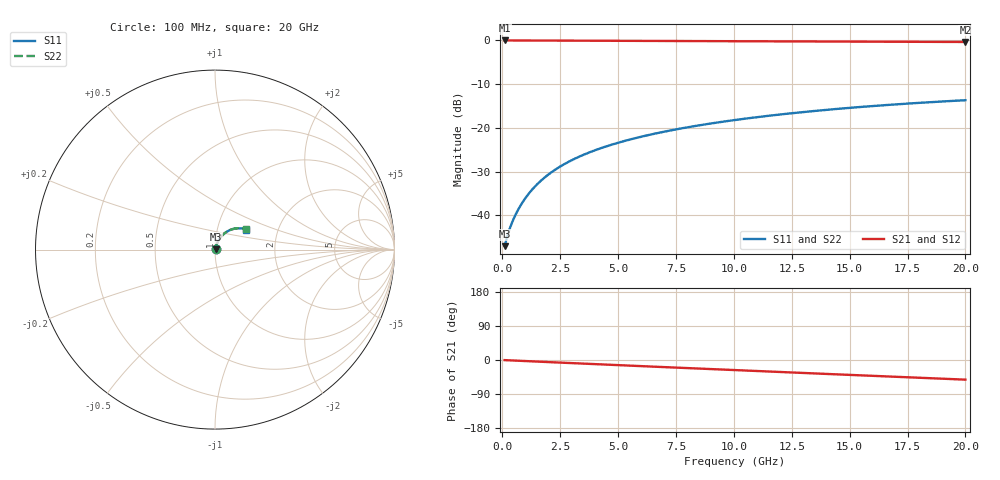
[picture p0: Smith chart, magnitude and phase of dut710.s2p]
! Touchstone file exported from HFSS 2026.1.0
!  File:  C:/ffzhzh/LocalFiles/Ansys_Project_Files/temp_train_TMRDL_710_1783154594_51560.aedt
!  Generated:  04:44:31 PM Jul  4, 2026
!  Design:  TMRDL
!  Project:  temp_train_TMRDL_710_1783154594_51560
! Variables:
!  h_bsmrdl = 2um
!  h_ox = 20um
!  h_rdl = 5um
!  h_sub = 80um
!  h_tmrdl = 5.76um
!  h_tsv = 80um
!  h_via = 3um
!  l_bsmrdl = 300um
!  l_sub = 1324.99um
!  l_tmrdl = 924.99um
!  m_sub = 200um
!  pitch = 23.7um
!  r_tsv = 6um
!  s_tmrdl = 10um
!  w_bsmrdl = 18um
!  w_sub = 500um
!  w_tmrdl = 14.58um
!  x_tsv_center1 = 932.28um
!  x_tsv_center2 = 1250.28um
!  x_tsv_center3 = 2189.85um
!  x_tsv_center4 = 2507.85um
!  x_tsv_center5 = 3447.42um
!  x_tsv_center6 = 3765.42um
# GHz S MA R 50.000000
! Terminal data exported
! Port[1] = TM_RDL1_1_T1
! Port[2] = TM_RDL1_1_T2
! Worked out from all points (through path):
!   200 points, 100 MHz to 20 GHz, reference 50 ohm
!   highest |S21| = -0.04 dB at 100 MHz (marker M1); lowest = -0.4 dB at 20 GHz (marker M2)
!   group delay of S21, straight-line fit = 7.17 ps
!   lowest |S11| = -47.0 dB at 100 MHz (marker M3), VSWR 1.01, Z = 50.4 + j0.186 ohm
!   |S11| at or under -10 dB: start of sweep to end of sweep
!   |S22| runs from -47.0 to -13.7 dB; largest |S21 - S12| = 7.6e-15
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0.1  0.004458 24.4  0.9959 -0.3  0.9959 -0.3  0.004458 24.4
! Gamma 0 0 0 0
! Port Impedance 50 0 50 0
0.2  0.005598 38.4  0.9956 -0.6  0.9956 -0.6  0.005598 38.4
0.3  0.006817 46.4  0.9954 -0.9  0.9954 -0.9  0.006817 46.4
0.4  0.008036 51.9  0.9952 -1.1  0.9952 -1.1  0.008036 51.9
0.6  0.01053 59.3  0.9949 -1.7  0.9949 -1.7  0.01053 59.3
0.9  0.01446 65.5  0.9945 -2.5  0.9945 -2.5  0.01446 65.6
1.1  0.01716 67.9  0.9943 -3.1  0.9943 -3.1  0.01716 67.9
1.3  0.01989 69.4  0.994 -3.6  0.994 -3.6  0.01989 69.4
1.7  0.02537 71.0  0.9934 -4.7  0.9934 -4.7  0.02536 71.0
2.2  0.03216 71.4  0.9926 -6.1  0.9926 -6.1  0.03216 71.5
2.8  0.04015 71.0  0.9914 -7.7  0.9914 -7.7  0.04014 71.1
3.5  0.04919 69.9  0.9899 -9.6  0.9899 -9.6  0.04918 70.0
4.2  0.05793 68.6  0.9883 -11.4  0.9883 -11.4  0.05792 68.7
5  0.06759 66.9  0.9866 -13.6  0.9866 -13.6  0.06759 67.0
5.9  0.07812 65.0  0.9846 -15.9  0.9846 -15.9  0.07811 65.1
6.8  0.08833 63.0  0.9827 -18.3  0.9827 -18.3  0.08831 63.1
8.3  0.1047 59.7  0.9796 -22.2  0.9796 -22.2  0.1047 59.8
10.1  0.1235 55.6  0.976 -26.8  0.976 -26.8  0.1235 55.8
11.7  0.1393 51.9  0.9728 -30.9  0.9728 -30.9  0.1393 52.1
13.4  0.1552 48.0  0.9694 -35.2  0.9694 -35.2  0.1552 48.2
16.7  0.1832 40.3  0.9629 -43.6  0.9629 -43.6  0.1832 40.6
20  0.2069 32.5  0.9568 -51.8  0.9568 -51.8  0.2069 32.9
